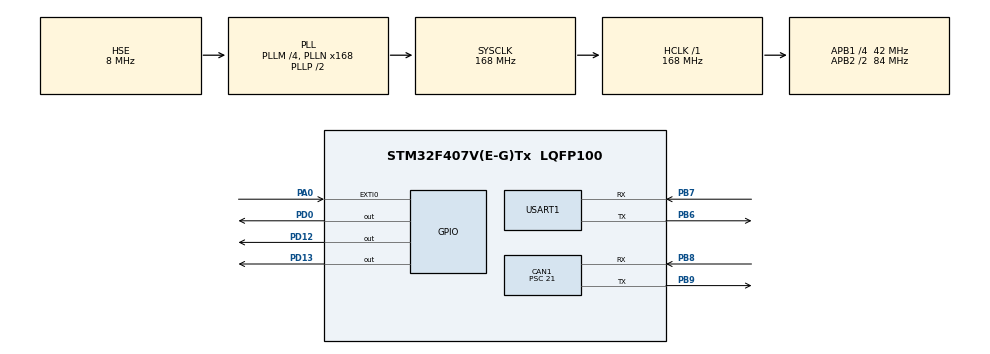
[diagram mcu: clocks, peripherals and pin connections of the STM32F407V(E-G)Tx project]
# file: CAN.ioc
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CAN1.BS1=CAN_BS1_2TQ
CAN1.CalculateBaudRate=500000
CAN1.CalculateTimeBit=2000
CAN1.CalculateTimeQuantum=500.0
CAN1.Prescaler=21
Mcu.Family=STM32F4
Mcu.Name=STM32F407V(E-G)Tx
Mcu.Package=LQFP100
NVIC.CAN1_RX0_IRQn=true\:0\:0\:false\:false\:true\:true\:true\:true
NVIC.CAN1_TX_IRQn=true\:0\:0\:false\:false\:true\:true\:true\:true
NVIC.EXTI0_IRQn=true\:0\:0\:false\:false\:true\:true\:true\:true
NVIC.PriorityGroup=NVIC_PRIORITYGROUP_4
NVIC.USART1_IRQn=true\:0\:0\:false\:false\:true\:true\:true\:true
PA0-WKUP.Signal=GPXTI0
PB6.Mode=Asynchronous
PB6.Signal=USART1_TX
PB7.Mode=Asynchronous
PB7.Signal=USART1_RX
PB8.Mode=CAN_Activate
PB8.Signal=CAN1_RX
PB9.Mode=CAN_Activate
PB9.Signal=CAN1_TX
PD0.Signal=GPIO_Output
PD12.Signal=GPIO_Output
PD13.Signal=GPIO_Output
PH0-OSC_IN.Mode=HSE-External-Oscillator
PH0-OSC_IN.Signal=RCC_OSC_IN
PH1-OSC_OUT.Mode=HSE-External-Oscillator
PH1-OSC_OUT.Signal=RCC_OSC_OUT
ProjectManager.HeapSize=0x200
ProjectManager.StackSize=0x400
ProjectManager.TargetToolchain=EWARM V8.50
RCC.48MHZClocksFreq_Value=84000000
RCC.AHBFreq_Value=168000000
RCC.APB1CLKDivider=RCC_HCLK_DIV4
RCC.APB1Freq_Value=42000000
RCC.APB1TimFreq_Value=84000000
RCC.APB2CLKDivider=RCC_HCLK_DIV2
RCC.APB2Freq_Value=84000000
RCC.APB2TimFreq_Value=168000000
RCC.CortexFreq_Value=168000000
RCC.HCLKFreq_Value=168000000
RCC.HSE_VALUE=8000000
RCC.HSI_VALUE=16000000
RCC.LSE_VALUE=32768
RCC.PLLM=4
RCC.PLLN=168
RCC.PLLSourceVirtual=RCC_PLLSOURCE_HSE
RCC.SYSCLKFreq_VALUE=168000000
RCC.SYSCLKSource=RCC_SYSCLKSOURCE_PLLCLK
RCC.VCOOutputFreq_Value=336000000
USART1.VirtualMode=VM_ASYNC
board=custom

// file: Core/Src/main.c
//CAN3

/* USER CODE BEGIN Header */
/**
  ******************************************************************************
  * @file           : main.c
  * @brief          : Main program body
  ******************************************************************************
  * @attention
  *
  * Copyright (c) 2023 STMicroelectronics.
  * All rights reserved.
  *
  * This software is licensed under terms that can be found in the LICENSE file
  * in the root directory of this software component.
  * If no LICENSE file comes with this software, it is provided AS-IS.
  *
  ******************************************************************************
  */
/* USER CODE END Header */
#include "main.h"

CAN_HandleTypeDef hcan1;

UART_HandleTypeDef huart1;

/* USER CODE BEGIN PV */
CAN_FilterTypeDef Scanfilter;

CAN_RxHeaderTypeDef RxHeader;
CAN_TxHeaderTypeDef TxHeader;

uint32_t TxMailbox;

uint8_t TxData[8];
uint8_t RxData[8];
uint8_t flag;
uint8_t flag_display;
uint8_t check[8];

uint8_t message3[100] = "Board 3 pressed\n";

uint8_t message_request[100] = "Board 3 sends request to ";

uint8_t choose12[] = "Choose LED 12\n";

uint8_t choose13[] = "Choose LED 13\n";

uint8_t turnon[]= "Turn ON\n";
uint8_t turnoff[]= "Turn OFF\n";

uint8_t message1[100] = "Board 1 pressed\n";

uint8_t message2[100] = "Board 2 pressed\n";

uint8_t message4[100] = "Board 4 pressed\n";
/* USER CODE END PV */

void SystemClock_Config(void);
static void MX_GPIO_Init(void);
static void MX_CAN1_Init(void);
static void MX_USART1_UART_Init(void);
/* USER CODE BEGIN PFP */
void HAL_CAN_RxFifo0MsgPendingCallback(CAN_HandleTypeDef *hcan)
{
	HAL_CAN_GetRxMessage(&hcan1, CAN_RX_FIFO0, &RxHeader, RxData);
        flag=0x01;
}
/* USER CODE END PFP */

/* USER CODE BEGIN 0 */
void HAL_GPIO_EXTI_Callback(uint16_t GPIO_Pin)
{

  if(GPIO_Pin==GPIO_PIN_0)
  {
      TxData[0]=0x9E;
      TxData[1]=0xFF;
	/* Send data to node ID is 0x300 */
    if (HAL_CAN_AddTxMessage(&hcan1, &TxHeader, TxData, &TxMailbox)!= HAL_OK)
    {
            Error_Handler();
    }
    HAL_UART_Transmit_IT(&huart1, message3, sizeof(message3));
  }
}

void HAL_UART_RxCpltCallback(UART_HandleTypeDef *huart)
{
  if(huart->Instance==huart1.Instance)
  {
    HAL_UART_Receive_IT(&huart1, check, 3);
    flag_display = 0x01;

    if (HAL_CAN_AddTxMessage(&hcan1, &TxHeader, check, &TxMailbox)!= HAL_OK)
    {
            Error_Handler();
    }

    if(check[0]==0x9E)
    {
      switch (check[1])
      {
      case 0x01:
        if(check[2]==0x01)
          HAL_GPIO_WritePin(GPIOD,GPIO_PIN_12,GPIO_PIN_SET);
        else if(check[2]==0x00)
          HAL_GPIO_WritePin(GPIOD,GPIO_PIN_12,GPIO_PIN_RESET);
        break;
       case 0x02:
        if(check[2]==0x01)
          HAL_GPIO_WritePin(GPIOD,GPIO_PIN_13,GPIO_PIN_SET);
        else if(check[2]==0x00)
          HAL_GPIO_WritePin(GPIOD,GPIO_PIN_13,GPIO_PIN_RESET);
        break;
      }
    }
  }
}

void NotifyLed(){
    switch (RxData[1])
    {
    case 0x01:
       HAL_Delay(200);
       HAL_UART_Transmit_IT(&huart1, choose12, sizeof(choose12));
       HAL_Delay(200);
      if(RxData[2]==0x01)
      {
        HAL_UART_Transmit_IT(&huart1, turnon, sizeof(turnon));
      }
      else if(RxData[2]==0x00)
      {
        HAL_UART_Transmit_IT(&huart1, turnoff, sizeof(turnoff));
      }
      break;
     case 0x02:
      HAL_Delay(200);
      HAL_UART_Transmit_IT(&huart1, choose13, sizeof(choose13));
      HAL_Delay(200);
      if(RxData[2]==0x01)
      {
        HAL_UART_Transmit_IT(&huart1, turnon, sizeof(turnon));
      }
      else if(RxData[2]==0x00)
      {
        HAL_UART_Transmit_IT(&huart1, turnoff, sizeof(turnoff));
      }
      break;
    }
}

void ActiveLed(){
  switch (RxData[1])
    {
    case 0x01:
       HAL_Delay(200);
       HAL_UART_Transmit_IT(&huart1, choose12, sizeof(choose12));
       HAL_Delay(200);
      if(RxData[2]==0x01)
      {
        HAL_GPIO_WritePin(GPIOD,GPIO_PIN_12,GPIO_PIN_SET);
        HAL_UART_Transmit_IT(&huart1, turnon, sizeof(turnon));
      }
      else if(RxData[2]==0x00)
      {
        HAL_GPIO_WritePin(GPIOD,GPIO_PIN_12,GPIO_PIN_RESET);
        HAL_UART_Transmit_IT(&huart1, turnoff, sizeof(turnoff));
      }
      break;
     case 0x02:
      HAL_Delay(200);
      HAL_UART_Transmit_IT(&huart1, choose13, sizeof(choose13));
      HAL_Delay(200);
      if(RxData[2]==0x01)
      {
        HAL_GPIO_WritePin(GPIOD,GPIO_PIN_13,GPIO_PIN_SET);

        HAL_UART_Transmit_IT(&huart1, turnon, sizeof(turnon));
      }
      else if(RxData[2]==0x00)
      {
        HAL_GPIO_WritePin(GPIOD,GPIO_PIN_13,GPIO_PIN_RESET);

        HAL_UART_Transmit_IT(&huart1, turnoff, sizeof(turnoff));
      }
      break;
    }
}

/* USER CODE END 0 */

int main(void)
{
  /* USER CODE BEGIN 1 */

                TxHeader.StdId=0x9E;
                TxHeader.DLC = 8;
                TxHeader.IDE = CAN_ID_STD;
                TxHeader.RTR = CAN_RTR_DATA;

  /* USER CODE END 1 */

  /* MCU Configuration--------------------------------------------------------*/

  /* Reset of all peripherals, Initializes the Flash interface and the Systick. */
  HAL_Init();

  /* Configure the system clock */
  SystemClock_Config();

  /* Initialize all configured peripherals */
  MX_GPIO_Init();
  MX_CAN1_Init();
  MX_USART1_UART_Init();
  /* USER CODE BEGIN 2 */
  HAL_CAN_Start(&hcan1);
  HAL_CAN_ActivateNotification(&hcan1, CAN_IT_RX_FIFO0_MSG_PENDING);

  /* USER CODE END 2 */
  HAL_UART_Receive_IT(&huart1, check, 3);

  /* Infinite loop */
  while (1)
  {

    /* USER CODE BEGIN 3 */
    if(flag_display==0x01)
    {
      HAL_UART_Transmit_IT(&huart1, message_request, sizeof(message_request));
      HAL_Delay(200);
      if(check[0]==0x7E)
      {
        uint8_t arr[]= "Board 1\n";
        HAL_UART_Transmit_IT(&huart1, arr, sizeof(arr));

      }
      else if(check[0]==0x8E)
      {
        uint8_t arr[]= "Board 2\n";
        HAL_UART_Transmit_IT(&huart1, arr, sizeof(arr));

      }
      else if(check[0]==0x9E)
      {
        uint8_t arr[]= "Board 3\n";
        HAL_UART_Transmit_IT(&huart1, arr, sizeof(arr));
      }
      else if(check[0]==0x6E)
      {
        uint8_t arr[]= "Board 4\n";
        HAL_UART_Transmit_IT(&huart1, arr, sizeof(arr));
      }

      HAL_Delay(100);

      if(check[1]==0x01)
      {
        HAL_UART_Transmit_IT(&huart1, choose12, sizeof(choose12));
      }
      else if(check[1]==0x02)
      {
        HAL_UART_Transmit_IT(&huart1, choose13, sizeof(choose13));
      }

      HAL_Delay(100);

      if(check[2]==0x01)
      {
        HAL_UART_Transmit_IT(&huart1, turnon, sizeof(turnon));
      }
      else if(check[2]==0x00)
      {

        HAL_UART_Transmit_IT(&huart1, turnoff, sizeof(turnoff));
      }

      flag_display=0;
    }
    if(flag==0x01)
    {
      if(RxData[1]!= 0xFF){
          if(RxHeader.StdId == 0x8E)
          {
            uint8_t arr[]= "Board 2 sends request to ";
            HAL_UART_Transmit_IT(&huart1, arr, sizeof(arr));
          }
          else if(RxHeader.StdId == 0x9E)
          {
            uint8_t arr[]= "Board 3 sends request to ";
            HAL_UART_Transmit_IT(&huart1, arr, sizeof(arr));
          }
          else if(RxHeader.StdId == 0x7E)
          {
            uint8_t arr[]= "Board 1 sends request to ";
            HAL_UART_Transmit_IT(&huart1, arr, sizeof(arr));
          }
          else if(RxHeader.StdId == 0x6E)
          {
            uint8_t arr[]= "Board 4 sends request to ";
            HAL_UART_Transmit_IT(&huart1, arr, sizeof(arr));
          }
          HAL_Delay(200);

          if(RxData[0]==0x7E)
          {
            uint8_t arr[]= "Board 1\n";
            HAL_UART_Transmit_IT(&huart1, arr, sizeof(arr));
            NotifyLed();
          }
          else if(RxData[0]==0x8E)
          {
            uint8_t arr[]= "Board 2\n";
            HAL_UART_Transmit_IT(&huart1, arr, sizeof(arr));
            NotifyLed();

          }
          else if(RxData[0]==0x6E)
          {
            uint8_t arr[]= "Board 4\n";
            HAL_UART_Transmit_IT(&huart1, arr, sizeof(arr));
            NotifyLed();

          }
          else if(RxData[0]==0x9E)
          {
            uint8_t arr[]= "Board 3\n";
            HAL_UART_Transmit_IT(&huart1, arr, sizeof(arr));

            ActiveLed();
          }

          HAL_Delay(100);
      }
      else{
        switch (RxData[0])
        {
        case 0x7E:
          if(RxData[1]==0xFF)
          {
            HAL_UART_Transmit_IT(&huart1, message1, sizeof(message1));
          }
          break;
        case 0x8E:
          if(RxData[1]==0xFF)
          {
            HAL_UART_Transmit_IT(&huart1, message2, sizeof(message2));
          }
          break;
        case 0x6E:
          if(RxData[1]==0xFF)
          {
            HAL_UART_Transmit_IT(&huart1, message4, sizeof(message4));
          }
          break;
        }
      }
        flag=0;
    }

  }
  /* USER CODE END 3 */
}

void SystemClock_Config(void)
{
  RCC_OscInitTypeDef RCC_OscInitStruct = {0};
  RCC_ClkInitTypeDef RCC_ClkInitStruct = {0};

  /** Configure the main internal regulator output voltage
  */
  __HAL_RCC_PWR_CLK_ENABLE();
  __HAL_PWR_VOLTAGESCALING_CONFIG(PWR_REGULATOR_VOLTAGE_SCALE1);

  /** Initializes the RCC Oscillators according to the specified parameters
  * in the RCC_OscInitTypeDef structure.
  */
  RCC_OscInitStruct.OscillatorType = RCC_OSCILLATORTYPE_HSE;
  RCC_OscInitStruct.HSEState = RCC_HSE_ON;
  RCC_OscInitStruct.PLL.PLLState = RCC_PLL_ON;
  RCC_OscInitStruct.PLL.PLLSource = RCC_PLLSOURCE_HSE;
  RCC_OscInitStruct.PLL.PLLM = 4;
  RCC_OscInitStruct.PLL.PLLN = 168;
  RCC_OscInitStruct.PLL.PLLP = RCC_PLLP_DIV2;
  RCC_OscInitStruct.PLL.PLLQ = 4;
  if (HAL_RCC_OscConfig(&RCC_OscInitStruct) != HAL_OK)
  {
    Error_Handler();
  }

  /** Initializes the CPU, AHB and APB buses clocks
  */
  RCC_ClkInitStruct.ClockType = RCC_CLOCKTYPE_HCLK|RCC_CLOCKTYPE_SYSCLK
                              |RCC_CLOCKTYPE_PCLK1|RCC_CLOCKTYPE_PCLK2;
  RCC_ClkInitStruct.SYSCLKSource = RCC_SYSCLKSOURCE_PLLCLK;
  RCC_ClkInitStruct.AHBCLKDivider = RCC_SYSCLK_DIV1;
  RCC_ClkInitStruct.APB1CLKDivider = RCC_HCLK_DIV4;
  RCC_ClkInitStruct.APB2CLKDivider = RCC_HCLK_DIV2;

  if (HAL_RCC_ClockConfig(&RCC_ClkInitStruct, FLASH_LATENCY_5) != HAL_OK)
  {
    Error_Handler();
  }
}

static void MX_CAN1_Init(void)
{

  hcan1.Instance = CAN1;
  hcan1.Init.Prescaler = 21;
  hcan1.Init.Mode = CAN_MODE_NORMAL;
  hcan1.Init.SyncJumpWidth = CAN_SJW_1TQ;
  hcan1.Init.TimeSeg1 = CAN_BS1_2TQ;
  hcan1.Init.TimeSeg2 = CAN_BS2_1TQ;
  hcan1.Init.TimeTriggeredMode = DISABLE;
  hcan1.Init.AutoBusOff = DISABLE;
  hcan1.Init.AutoWakeUp = DISABLE;
  hcan1.Init.AutoRetransmission = DISABLE;
  hcan1.Init.ReceiveFifoLocked = DISABLE;
  hcan1.Init.TransmitFifoPriority = DISABLE;
  if (HAL_CAN_Init(&hcan1) != HAL_OK)
  {
    Error_Handler();
  }
  /* USER CODE BEGIN CAN1_Init 2 */
CAN_FilterTypeDef canfilterconfig;              //Std = 0x11

  canfilterconfig.FilterActivation = CAN_FILTER_ENABLE;
  canfilterconfig.FilterBank = 0;
  canfilterconfig.FilterFIFOAssignment = CAN_FILTER_FIFO0;
  canfilterconfig.FilterIdHigh = 0x0000;                //0x15<<5
  canfilterconfig.FilterIdLow = 0;
  canfilterconfig.FilterMaskIdHigh = 0x0000;
  canfilterconfig.FilterMaskIdLow = 0x0000;
  canfilterconfig.FilterMode = CAN_FILTERMODE_IDMASK;
  canfilterconfig.FilterScale = CAN_FILTERSCALE_32BIT;
canfilterconfig.SlaveStartFilterBank = 20;

	if (HAL_CAN_ConfigFilter(&hcan1, &canfilterconfig) != HAL_OK)
  {
    Error_Handler();
  }
  /* USER CODE END CAN1_Init 2 */

}

static void MX_USART1_UART_Init(void)
{

  huart1.Instance = USART1;
  huart1.Init.BaudRate = 115200;
  huart1.Init.WordLength = UART_WORDLENGTH_8B;
  huart1.Init.StopBits = UART_STOPBITS_1;
  huart1.Init.Parity = UART_PARITY_NONE;
  huart1.Init.Mode = UART_MODE_TX_RX;
  huart1.Init.HwFlowCtl = UART_HWCONTROL_NONE;
  huart1.Init.OverSampling = UART_OVERSAMPLING_16;
  if (HAL_UART_Init(&huart1) != HAL_OK)
  {
    Error_Handler();
  }

}

static void MX_GPIO_Init(void)
{
  GPIO_InitTypeDef GPIO_InitStruct = {0};

  /* GPIO Ports Clock Enable */
  __HAL_RCC_GPIOH_CLK_ENABLE();
  __HAL_RCC_GPIOA_CLK_ENABLE();
  __HAL_RCC_GPIOD_CLK_ENABLE();
  __HAL_RCC_GPIOB_CLK_ENABLE();

  /*Configure GPIO pin Output Level */
  HAL_GPIO_WritePin(GPIOD, GPIO_PIN_12|GPIO_PIN_13|GPIO_PIN_0, GPIO_PIN_RESET);

  /*Configure GPIO pin : PA0 */
  GPIO_InitStruct.Pin = GPIO_PIN_0;
  GPIO_InitStruct.Mode = GPIO_MODE_IT_RISING;
  GPIO_InitStruct.Pull = GPIO_NOPULL;
  HAL_GPIO_Init(GPIOA, &GPIO_InitStruct);

  /*Configure GPIO pins : PD12 PD13 PD0 */
  GPIO_InitStruct.Pin = GPIO_PIN_12|GPIO_PIN_13|GPIO_PIN_0;
  GPIO_InitStruct.Mode = GPIO_MODE_OUTPUT_PP;
  GPIO_InitStruct.Pull = GPIO_NOPULL;
  GPIO_InitStruct.Speed = GPIO_SPEED_FREQ_LOW;
  HAL_GPIO_Init(GPIOD, &GPIO_InitStruct);

  /* EXTI interrupt init*/
  HAL_NVIC_SetPriority(EXTI0_IRQn, 0, 0);
  HAL_NVIC_EnableIRQ(EXTI0_IRQn);

}

void Error_Handler(void)
{
  __disable_irq();
  while (1)
  {
  }
}
